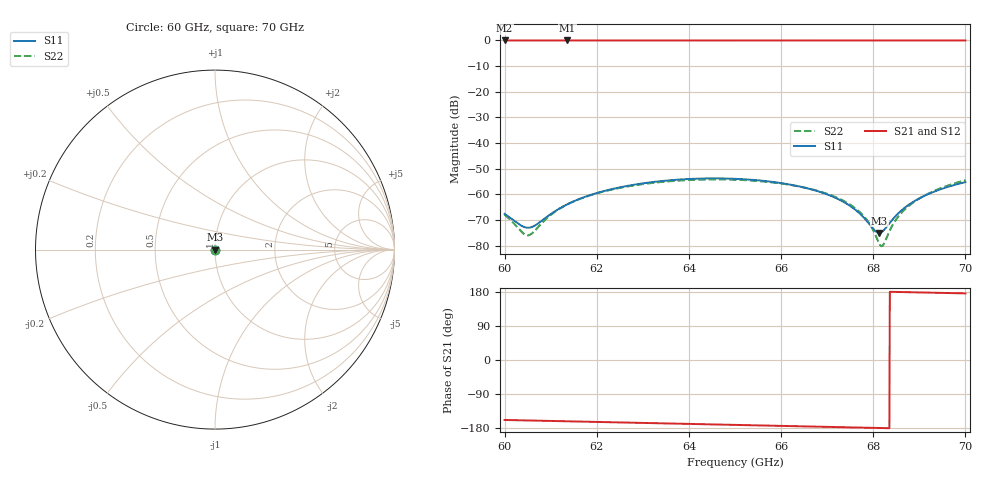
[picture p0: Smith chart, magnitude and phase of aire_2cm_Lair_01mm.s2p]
! TOUCHSTONE file generated by CST MICROWAVE STUDIO
! Date and time: Sun Mar  3 12:20:13 2024
! Project name: aire_def.cst
! Parameters = {d=8.9}
! Header version: 2018
! Port assignment regex: !\s*Touchstone port\s*([0-9]+)\s*=\s*(CST MWS port|CST DS port)\s*([0-9]+|Zmin|Zmax)\s*\(\"(.*)\"\)(\s*mode\s*([0-9]+))?.*
! Touchstone port assignment:
! Touchstone port 1 = CST MWS port 1 ("")
! Touchstone port 2 = CST MWS port 2 ("")
# GHz S MA R 376.7
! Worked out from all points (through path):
!   1001 points, 60 GHz to 70 GHz, reference 376.7 ohm
!   highest |S21| = 0.00 dB at 61.36 GHz (marker M1); lowest = 0.0 dB at 60 GHz (marker M2)
!   group delay of S21, straight-line fit = 7.23 ps
!   lowest |S11| = -75.0 dB at 68.13 GHz (marker M3), VSWR 1.00, Z = 377 - j0.000237 ohm
!   |S11| at or under -10 dB: start of sweep to end of sweep
!   |S22| runs from -80.2 to -54.2 dB; largest |S21 - S12| = 0.00083
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60  0.0004164 -98.6  0.9995 -158.2  1 -158.2  0.0004011 -44.8
60.4  0.000236 -138.5  0.9997 -159.3  1 -159.3  0.0001748 -3.8
60.52  0.0002237 -159.7  0.9998 -159.6  1 -159.6  0.0001595 26.0
60.67  0.0002507 175.0  0.9998 -160.0  1 -160.0  0.0002019 58.4
61.01  0.0004183 143.2  0.9999 -160.9  1 -160.9  0.0004025 86.1
61.36  0.0006404 130.1  1 -161.8  1 -161.8  0.0006356 93.9
61.67  0.0008452 123.9  1 -162.6  1 -162.6  0.0008399 96.6
62.42  0.001322 115.2  1 -164.6  1 -164.6  0.001294 98.1
63.34  0.001792 108.6  1 -167.0  1 -166.9  0.001721 96.7
65  0.002012 100.5  1 -171.3  0.9998 -171.3  0.001929 91.6
65.9  0.00171 98.3  1 -173.6  0.9998 -173.6  0.001674 88.4
66.67  0.001243 98.9  1 -175.6  0.9997 -175.7  0.001254 85.3
67.22  0.0008233 102.4  1 -177.1  0.9997 -177.1  0.0008569 82.0
67.63  0.0004858 111.0  1 -178.1  0.9997 -178.2  0.0005185 76.9
67.9  0.0002745 129.7  1 -178.8  0.9998 -178.9  0.0002838 67.2
68.13  0.0001769 -179.9  1 -179.4  0.9998 -179.5  0.0001099 24.3
68.21  0.0001924 -157.2  1 -179.6  0.9998 -179.7  0.0001013 -18.3
68.34  0.0002648 -132.2  1 -180.0  0.9998 180.0  0.000182 -60.7
68.57  0.0004491 -113.4  1 179.4  0.9998 179.4  0.0003951 -79.1
68.9  0.0007441 -103.7  1 178.6  0.9998 178.5  0.0007274 -85.9
69.38  0.001182 -98.1  1 177.3  0.9998 177.3  0.001229 -89.3
70  0.001734 -94.5  1 175.7  0.9999 175.7  0.001891 -90.9
